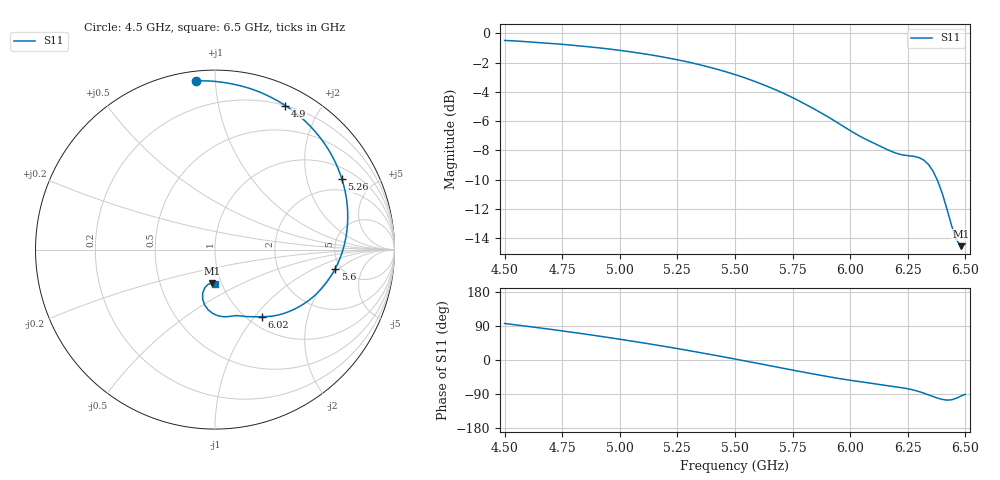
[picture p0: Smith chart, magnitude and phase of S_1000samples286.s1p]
! TOUCHSTONE file generated by CST MICROWAVE STUDIO
! Date and time: Thu Oct 27 15:26:35 2022
! Project name: L.cst
! Parameters = {Di=1.27; Epsilon_r=1.56; InnerDiameter=1.27; Length=2; Lf=10; Lg=60; OuterConductorThickness=0.2921; OuterDiameter=3.6; Wf=3; Wp=41.2; de=1.5; df=6.8; g=0.8; gx=4.67409; gy=4.77582; h=2.34; hf=1.524; px=14.8594; py=13.3422; w=9.7; wx=10.1853; wy=8.56634}
! Header version: 2018
! Port assignment regex: !\s*Touchstone port\s*([0-9]+)\s*=\s*(CST MWS port|CST DS port)\s*([0-9]+|Zmin|Zmax)\s*\(\"(.*)\"\)(\s*mode\s*([0-9]+))?.*
! Touchstone port assignment:
! Touchstone port 1 = CST MWS port 1 ("")
# GHz S DB R 50
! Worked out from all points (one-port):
!   101 points, 4.5 GHz to 6.5 GHz, reference 50 ohm
!   lowest |S11| = -14.5 dB at 6.48 GHz (marker M1), VSWR 1.46, Z = 45.1 - j17.4 ohm
!   |S11| at or under -10 dB: 6.377 GHz to end of sweep
!   S11 on the Smith chart (normalised r, x): 4.5 GHz: 0.05, +0.89; 4.9 GHz: 0.20, +1.58; 5.26 GHz: 1.44, +3.27; 5.6 GHz: 4.48, -1.77; 6.02 GHz: 1.15, -1.09; 6.5 GHz: 0.93, -0.37
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4.5  -0.49 96.3
4.62  -0.61 87.2
4.76  -0.77 75.9
4.9  -0.98 63.9
5  -1.17 54.8
5.14  -1.49 41.3
5.26  -1.84 29.0
5.32  -2.05 22.6
5.38  -2.28 16.0
5.44  -2.54 9.4
5.5  -2.82 2.5
5.6  -3.38 -9.1
5.68  -3.89 -18.4
5.76  -4.47 -27.8
5.82  -4.97 -34.6
5.88  -5.49 -41.2
6  -6.65 -53.5
6.02  -6.84 -55.2
6.18  -8.08 -69.3
6.26  -8.37 -77.2
6.3  -8.50 -83.6
6.34  -8.97 -92.0
6.38  -10.09 -100.7
6.4  -10.96 -104.1
6.42  -12.01 -105.8
6.46  -14.08 -101.2
6.48  -14.54 -95.4
6.5  -14.39 -90.3
